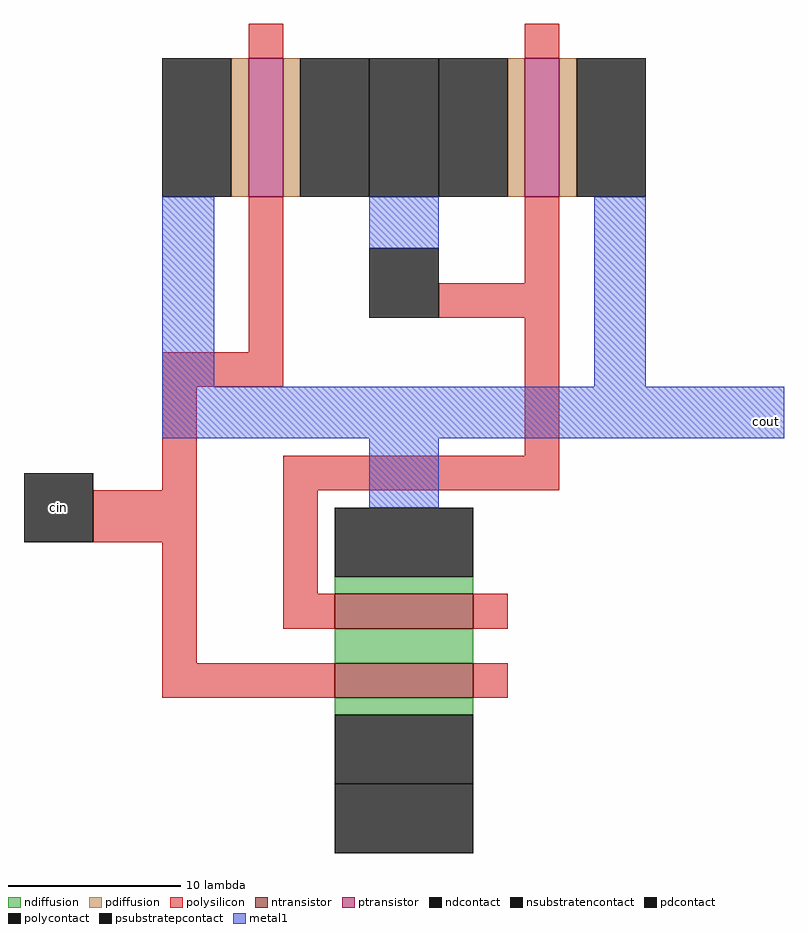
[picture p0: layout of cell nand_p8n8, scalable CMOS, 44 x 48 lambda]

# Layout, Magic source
magic
tech scmos
<< polysilicon >>
rect -10 15 -8 17
rect 6 15 8 17
rect -10 -2 -8 7
rect 6 2 8 7
rect 1 0 8 2
rect -15 -4 -8 -2
rect -15 -10 -13 -4
rect 6 -8 8 0
rect -19 -13 -13 -10
rect -15 -20 -13 -13
rect -8 -10 8 -8
rect -8 -16 -6 -10
rect -8 -18 -5 -16
rect 3 -18 5 -16
rect -15 -22 -5 -20
rect 3 -22 5 -20
<< ndiffusion >>
rect -5 -16 3 -15
rect -5 -20 3 -18
rect -5 -23 3 -22
<< pdiffusion >>
rect -11 7 -10 15
rect -8 7 -7 15
rect 5 7 6 15
rect 8 7 9 15
<< metal1 >>
rect -15 -4 -12 7
rect -3 4 1 7
rect 10 -4 13 7
rect -15 -7 21 -4
rect -3 -11 1 -7
<< ntransistor >>
rect -5 -18 3 -16
rect -5 -22 3 -20
<< ptransistor >>
rect -10 7 -8 15
rect 6 7 8 15
<< polycontact >>
rect -3 0 1 4
rect -23 -13 -19 -9
<< ndcontact >>
rect -5 -15 3 -11
rect -5 -27 3 -23
<< pdcontact >>
rect -15 7 -11 15
rect -7 7 -3 15
rect 1 7 5 15
rect 9 7 13 15
<< psubstratepcontact >>
rect -5 -31 3 -27
<< nsubstratencontact >>
rect -3 7 1 15
<< labels >>
rlabel metal1 20 -6 20 -6 7 cout
rlabel polycontact -21 -11 -21 -11 3 cin
<< end >>
